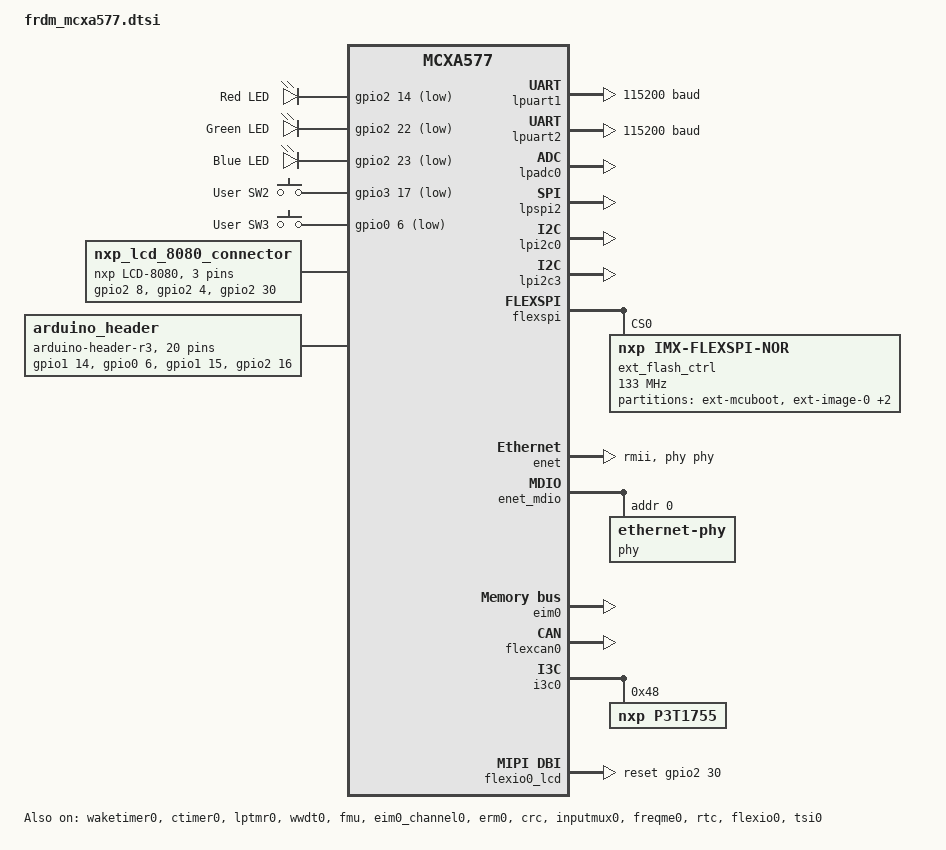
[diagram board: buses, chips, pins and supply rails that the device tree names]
/*
 * Copyright 2025-2026 NXP
 *
 * SPDX-License-Identifier: Apache-2.0
 */

/*/dts-v1/;*/

#include "frdm_mcxa577-pinctrl.dtsi"
#include <zephyr/dt-bindings/gpio/arduino-header-r3.h>
#include <zephyr/dt-bindings/input/input-event-codes.h>
#include <zephyr/dt-bindings/wuc/wuc_nxp_wuu.h>

/ {
	aliases {
		led0 = &red_led;
		led1 = &green_led;
		led2 = &blue_led;
		sw0 = &user_button_2;
		sw1 = &user_button_3;
		wakeup-button = &user_button_2;
		watchdog0 = &wwdt0;
		flash-controller = &fmu;
		die-temp0 = &temp0;
		rtc = &rtc;
		ambient-temp0 = &p3t1755;
	};

	leds {
		compatible = "gpio-leds";

		red_led: led_0 {
			gpios = <&gpio2 14 GPIO_ACTIVE_LOW>;
			label = "Red LED";
		};

		green_led: led_1 {
			gpios = <&gpio2 22 GPIO_ACTIVE_LOW>;
			label = "Green LED";
		};

		blue_led: led_2 {
			gpios = <&gpio2 23 GPIO_ACTIVE_LOW>;
			label = "Blue LED";
		};
	};

	gpio_keys {
		compatible = "gpio-keys";

		user_button_2: button_2 {
			label = "User SW2";
			gpios = <&gpio3 17 GPIO_ACTIVE_LOW>;
			/* P3_17 reaches the core as WUU external pin 26. */
			wakeup-ctrls = <&wuu NXP_WUU_PIN_26_FALLING_INT>;
			zephyr,code = <INPUT_KEY_0>;
		};

		user_button_3: button_3 {
			label = "User SW3";
			gpios = <&gpio0 6 GPIO_ACTIVE_LOW>;
			zephyr,code = <INPUT_KEY_1>;
		};
	};

	/*
	 * This node describes the GPIO pins of the LCD-PAR-S035 panel 8080 interface.
	 */
	nxp_lcd_8080_connector: lcd-8080-connector {
		compatible = "nxp,lcd-8080";
		#gpio-cells = <2>;
		gpio-map-mask = <0xffffffff 0xffffffc0>;
		gpio-map-pass-thru = <0 0x3f>;
		gpio-map = <9 0 &gpio2 8 0>,	/* Pin 9, LCD touch INT */
			   <10 0 &gpio2 4 0>,	/* Pin 10, LCD backlight control */
			   <11 0 &gpio2 30 0>;	/* Pin 11, LCD and touch reset */
	};

	arduino_header: arduino-connector {
		compatible = "arduino-header-r3";
		#gpio-cells = <2>;
		gpio-map-mask = <0xffffffff 0xffffffc0>;
		gpio-map-pass-thru = <0 0x3f>;
		gpio-map = <ARDUINO_HEADER_R3_A0 0 &gpio1 14 0>,
			   <ARDUINO_HEADER_R3_A1 0 &gpio0 6 0>,
			   <ARDUINO_HEADER_R3_A2 0 &gpio1 15 0>,
			   <ARDUINO_HEADER_R3_A3 0 &gpio2 16 0>,
			   <ARDUINO_HEADER_R3_A4 0 &gpio0 19 0>,
			   <ARDUINO_HEADER_R3_A5 0 &gpio5 2 0>,
			   <ARDUINO_HEADER_R3_D0 0 &gpio2 11 0>,
			   <ARDUINO_HEADER_R3_D1 0 &gpio2 10 0>,
			   <ARDUINO_HEADER_R3_D2 0 &gpio1 14 0>,
			   <ARDUINO_HEADER_R3_D3 0 &gpio2 14 0>,
			   <ARDUINO_HEADER_R3_D4 0 &gpio1 15 0>,
			   <ARDUINO_HEADER_R3_D5 0 &gpio2 22 0>,
			   <ARDUINO_HEADER_R3_D6 0 &gpio2 23 0>,
			   <ARDUINO_HEADER_R3_D7 0 &gpio5 9 0>,
			   <ARDUINO_HEADER_R3_D8 0 &gpio2 29 0>,
			   <ARDUINO_HEADER_R3_D9 0 &gpio0 27 0>,
			   <ARDUINO_HEADER_R3_D10 0 &gpio2 17 0>,
			   <ARDUINO_HEADER_R3_D11 0 &gpio2 13 0>,
			   <ARDUINO_HEADER_R3_D12 0 &gpio2 15 0>,
			   <ARDUINO_HEADER_R3_D13 0 &gpio2 12 0>;
	};
};

&cpu0 {
	clock-frequency = <DT_FREQ_M(200)>;
};

&porta {
	status = "okay";
};

&portb {
	status = "okay";
};

&gpio0 {
	status = "okay";
};

&waketimer0 {
	status = "okay";
};

&gpio1 {
	status = "okay";
};

&gpio2 {
	status = "okay";
};

&gpio3 {
	status = "okay";
};

&gpio4 {
	status = "okay";
};

&gpio5 {
	status = "okay";
};

&lpuart1 {
	current-speed = <115200>;
	pinctrl-0 = <&pinmux_lpuart1>;
	pinctrl-names = "default";
	status = "okay";
};

&lpuart2 {
	current-speed = <115200>;
	pinctrl-0 = <&pinmux_lpuart2>;
	pinctrl-names = "default";
	status = "okay";
};

&lpadc0 {
	pinctrl-0 = <&pinmux_lpadc0>;
	pinctrl-names = "default";
	status = "okay";
};

&lpspi2 {
	pinctrl-0 = <&pinmux_lpspi2>;
	pinctrl-names = "default";
	status = "okay";
};

&lpi2c0 {
	pinctrl-0 = <&pinmux_lpi2c0>;
	pinctrl-names = "default";
	status = "okay";
};

&lpi2c3 {
	pinctrl-0 = <&pinmux_lpi2c3>;
	pinctrl-names = "default";
	status = "okay";
};

&ctimer0 {
	status = "okay";
};

&lptmr0 {
	status = "okay";
};

&edma0 {
	status = "okay";
};

&wwdt0 {
	status = "okay";
};

&fmu {
	status = "okay";
};

&flash {
	partitions {
		compatible = "fixed-partitions";
		#address-cells = <1>;
		#size-cells = <1>;

		boot_partition: partition@0 {
			reg = <0x00000000 DT_SIZE_K(128)>;
			label = "mcuboot";
			read-only;
		};

		slot0_partition: partition@20000 {
			reg = <0x00020000 DT_SIZE_K(896)>;
			label = "image-0";
		};

		slot1_partition: partition@100000 {
			reg = <0x00100000 DT_SIZE_K(896)>;
			label = "image-1";
		};

		storage_partition: partition@1e0000 {
			reg = <0x001e0000 DT_SIZE_K(128)>;
			label = "storage";
		};
	};
};

&flexspi {
	pinctrl-0 = <&pinmux_flexspi>;
	pinctrl-names = "default";
	ahb-prefetch;
	ahb-bufferable;
	ahb-cacheable;
	ahb-read-addr-opt;
	combination-mode;
	rx-clock-source = <1>;
	status = "okay";

	/* WINBOND W25Q64JV flash memory */
	ext_flash_ctrl: flash-controller@0 {
		compatible = "nxp,imx-flexspi-nor";
		reg = <0>;
		ranges = <0x0 0x90000000 DT_SIZE_M(8)>;
		size = <DT_SIZE_M(64)>;
		spi-max-frequency = <DT_FREQ_M(133)>;
		jedec-id = [ef 40 17];
		cs-interval-unit = <1>;
		cs-interval = <2>;
		cs-hold-time = <3>;
		cs-setup-time = <3>;
		data-valid-time = <2>;
		column-space = <0>;

		#address-cells = <1>;
		#size-cells = <1>;
		status = "okay";

		w25q64: flash@0 {
			compatible = "soc-nv-flash";
			reg = <0x0 DT_SIZE_M(8)>;
			ranges;
			erase-block-size = <DT_SIZE_K(4)>;
			write-block-size = <1>;
			#address-cells = <1>;
			#size-cells = <1>;

			partitions {
				#address-cells = <1>;
				#size-cells = <1>;

				ext_boot_partition: partition@0 {
					compatible = "zephyr,mapped-partition";
					reg = <0x00000000 DT_SIZE_K(80)>;
					label = "ext-mcuboot";
				};

				ext_slot0_partition: partition@14000 {
					compatible = "zephyr,mapped-partition";
					reg = <0x00014000 DT_SIZE_M(3)>;
					label = "ext-image-0";
				};

				ext_slot1_partition: partition@314000 {
					compatible = "zephyr,mapped-partition";
					reg = <0x00314000 DT_SIZE_M(3)>;
					label = "ext-image-1";
				};

				ext_storage_partition: partition@614000 {
					compatible = "zephyr,mapped-partition";
					reg = <0x00614000 DT_SIZE_K(1968)>;
					label = "ext-storage";
				};
			};
		};
	};
};

&enet {
	pinctrl-0 = <&pinmux_enet_qos>;
	pinctrl-names = "default";
	phy-connection-type = "rmii";
	phy-handle = <&phy>;
	zephyr,random-mac-address;
	status = "okay";
};

&enet_mdio {
	status = "okay";

	phy: ethernet-phy@0 {
		compatible = "ethernet-phy";
		reg = <0>;
		status = "okay";
	};
};

&eim0 {
	status = "okay";
};

&eim0_channel0 {
	status = "okay";
};

&erm0 {
	status = "okay";
};

&crc {
	status = "okay";
};

&inputmux0 {
	status = "okay";
};

&freqme0 {
	status = "okay";
};

&flexcan0 {
	pinctrl-0 = <&pinmux_flexcan0>;
	pinctrl-names = "default";
	status = "okay";
};

&rtc {
	clock-src = <1>;
	status = "okay";
};

&i3c0 {
	pinctrl-0 = <&pinmux_i3c0>;
	pinctrl-names = "default";

	i2c-scl-hz = <DT_FREQ_K(400)>;
	i3c-scl-hz = <DT_FREQ_M(4)>;
	i3c-od-scl-hz = <DT_FREQ_K(1500)>;
	status = "okay";

	p3t1755: p3t1755@4800000236152a0090 {
		compatible = "nxp,p3t1755";
		reg = <0x48 0x0236 0x152a0090>;
		status = "okay";
	};
};

&flexio0 {
	status = "okay";
};

&tsi0 {
	pinctrl-0 = <&pinmux_tsi>;
	pinctrl-names = "default";
	/* On-board electrode E2 is wired to TSI0_CH0 (P5_3). */
	channel-mask = <0x1>;
	input-codes = <INPUT_KEY_A>;
	touch-threshold = <100>;
	release-threshold = <50>;
	scan-period-ms = <50>;
	status = "okay";
};

&smartdma {
	status = "okay";
};

nxp_8080_touch_panel_i2c: &lpi2c3 {};

zephyr_mipi_dbi_parallel: &flexio0_lcd {
	dmas = <&smartdma>;
	dma-names = "smartdma";
	/* Route the FlexIO IRQ to the SmartDMA trigger input through
	 * INPUTMUX0. Connection value is the inputmux_connection_t
	 * enum from fsl_inputmux_connections.h:
	 *   kINPUTMUX_Flexio0irqToSmartdmatrig = 0xa000034
	 */
	mux-states = <&inputmux0 0 0xa000034>;
	shifters-count = <4>;
	timers-count = <1>;
	enwr-pin = <27>;
	rd-pin = <26>;
	data-pin-start = <0>;
	reset-gpios = <&gpio2 30 GPIO_ACTIVE_HIGH>;
	cs-gpios = <&gpio2 24 GPIO_ACTIVE_HIGH>;
	rs-gpios = <&gpio2 31 GPIO_ACTIVE_HIGH>;
	pinctrl-0 = <&pinmux_flexio_lcd>;
	pinctrl-names = "default";
};
